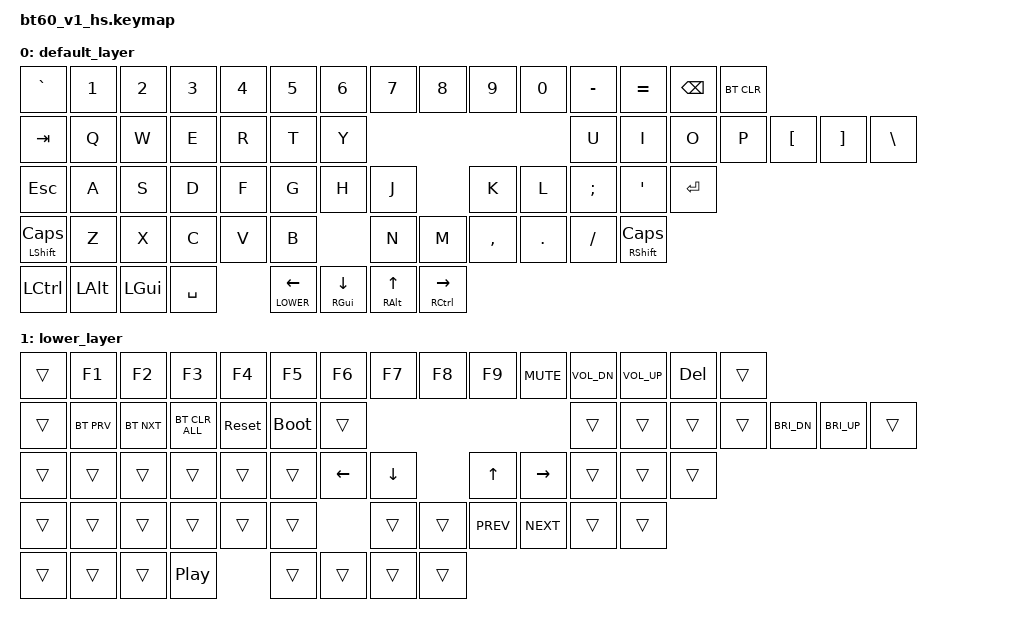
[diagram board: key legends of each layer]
#include <behaviors.dtsi>
#include <dt-bindings/zmk/keys.h>
#include <dt-bindings/zmk/bt.h>

#define DEFAULT 0
#define LOWER   1

&lt {
	tapping-term-ms = <200>;
	quick-tap-ms = <400>;
};
&mt {
	tapping-term-ms = <200>;
	quick-tap-ms = <400>;
};

//&caps_word {
//    continue-list = <BACKSPACE DELETE UNDERSCORE MINUS>;
//};
//         /\_/\
//        (=^ w^)=
//        /    |
//  ┌───┬───U──U┬───┬───┬───┬───┬───┬───┬───┬───┬───┬───┬────┐
//  │ ` │ 1 │ 2 │ 3 │ 4 │ 5 │ 6 │ 7 │ 8 │ 9 │ 0 │ - │ = │ ⇤  │
//  ├───┴┬──┴┬──┴┬──┴┬──┴┬──┴┬──┴┬──┴┬──┴┬──┴┬──┴┬──┴┬──┴┬───┤
//  │ ⇥  │ Q │ W │ E │ R │ T │ Y │ U │ I │ O │ P │ [ │ ] │ | │
//  ├────┴┬──┴┬──┴┬──┴┬──┴┬──┴┬──┴┬──┴┬──┴┬──┴┬──┴┬──┴┬──┴───┤
//  │ ⎋   │ A │ S │ D │ F │ G │ H │ J │ K │ L │ ; │ ' │ ⏎    │
//  ├─────┴┬──┴┬──┴┬──┴┬──┴┬──┴┬──┴┬──┴┬──┴┬──┴┬──┴┬──┴──────┤
//  │ ⇧    │ Z │ X │ C │ V │ B │ N │ M │ , │ . │ / │ ⇧       │
//  ├────┬─┴──┬┴───┼───┴───┴───┴───┴───┴─┬─┴──┬┴───┼────┬────┤
//  │ ⌃  │ ⌥  │ ⌘  │ ␣                   │ ⌄  │ ⌘  │ ⌥  │ ⌃  │
//  └────┴────┴────┴─────────────────────┴────┴────┴────┴────┘
/ {
	keymap {
		compatible = "zmk,keymap";
		default_layer {
			bindings = <
				&kp GRAVE &kp N1 &kp N2 &kp N3 &kp N4 &kp N5 &kp N6 &kp N7 &kp N8 &kp N9 &kp N0 &kp MINUS &kp EQUAL &kp BSPC &bt BT_CLR
				&kp TAB &kp Q &kp W &kp E &kp R &kp T &kp Y &kp U &kp I &kp O &kp P &kp LBKT &kp RBKT &kp BSLH
				&kp ESC &kp A &kp S &kp D &kp F &kp G &kp H &kp J &kp K &kp L &kp SEMI &kp SQT &kp RET
				&mt LSHIFT CAPS &kp Z &kp X &kp C &kp V &kp B &kp N &kp M &kp COMMA &kp DOT &kp FSLH &mt RSHIFT CAPS
				&kp LCTRL &kp LALT &kp LGUI &kp SPACE &lt LOWER LEFT &mt RGUI DOWN &mt RALT UP &mt RCTRL RIGHT
			>;
		};
		lower_layer {
			bindings = <
				&trans &kp F1 &kp F2 &kp F3 &kp F4 &kp F5 &kp F6 &kp F7 &kp F8 &kp F9 &kp C_MUTE &kp C_VOL_DN &kp C_VOL_UP &kp DEL &trans
				&trans &bt BT_PRV &bt BT_NXT &bt BT_CLR_ALL &sys_reset &bootloader &trans &trans &trans &trans &trans &kp C_BRI_DN &kp C_BRI_UP &trans
				&trans &trans &trans &trans &trans &trans &kp LEFT &kp DOWN &kp UP &kp RIGHT &trans &trans &trans
				&trans &trans &trans &trans &trans &trans &trans &trans &kp C_PREV &kp C_NEXT &trans &trans
				&trans &trans &trans &kp C_PLAY_PAUSE &trans &trans &trans &trans
			>;
		};
	};
};
